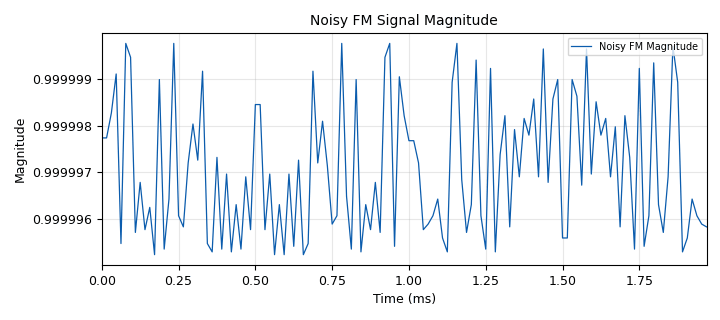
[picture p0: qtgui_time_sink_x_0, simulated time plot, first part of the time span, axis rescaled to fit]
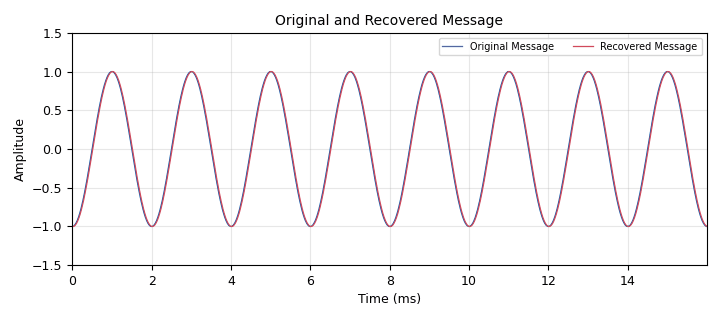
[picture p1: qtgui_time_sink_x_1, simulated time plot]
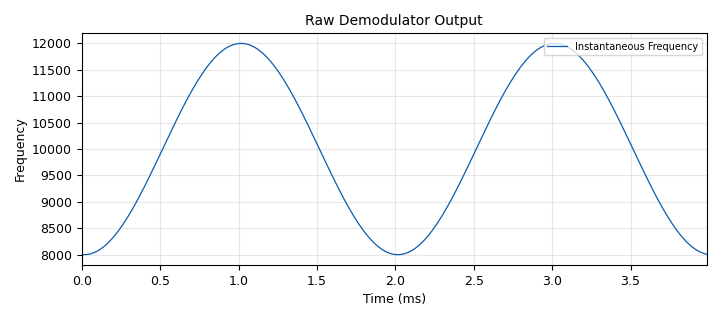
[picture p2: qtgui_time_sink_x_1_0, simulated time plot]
options:
  parameters:
    author: Dhrubjun
    generate_options: qt_gui
    id: exp6
    output_language: python
    title: FM Through an Additive Noisy Channel
  states: {}

blocks:
- name: amp_scale
  id: variable_qtgui_range
  parameters:
    label: FM Amplitude Scale
    start: '0.1'
    step: '0.1'
    stop: '2'
    value: '1'
  states: {}
- name: fc
  id: variable
  parameters:
    value: '10000'
  states: {}
- name: fm
  id: variable_qtgui_range
  parameters:
    label: |
      Message Frequency (Hz)
    start: '250'
    step: '250'
    stop: '2000'
    value: '500'
  states: {}
- name: freq_dev
  id: variable_qtgui_range
  parameters:
    label: Frequency Deviation (Hz)
    start: '0'
    step: '50'
    stop: '5000'
    value: '2000'
  states: {}
- name: noise_amp
  id: variable_qtgui_range
  parameters:
    label: Channel Noise Amplitude
    start: '0'
    step: '0.05'
    stop: '1'
    value: '0'
  states: {}
- name: samp_rate
  id: variable
  parameters:
    value: '64000'
  states: {}
- name: analog_noise_source_x_0
  id: analog_noise_source_x
  parameters:
    amp: noise_amp
    noise_type: analog.GR_GAUSSIAN
    seed: '0'
    type: complex
  states: {}
- name: analog_quadrature_demod_cf_0
  id: analog_quadrature_demod_cf
  parameters:
    gain: samp_rate/(2*pi)
  states: {}
- name: analog_sig_source_x_0
  id: analog_sig_source_x
  parameters:
    amp: '1'
    freq: fm
    offset: '0'
    phase: '0'
    samp_rate: samp_rate
    type: float
    waveform: analog.GR_COS_WAVE
  states: {}
- name: blocks_add_const_vxx_0
  id: blocks_add_const_vxx
  parameters:
    const: fc
    type: float
  states: {}
- name: blocks_add_const_vxx_0_0
  id: blocks_add_const_vxx
  parameters:
    const: '-fc'
    type: float
  states: {}
- name: blocks_add_xx_0
  id: blocks_add_xx
  parameters:
    type: complex
  states: {}
- name: blocks_complex_to_mag_0
  id: blocks_complex_to_mag
  parameters: {}
  states: {}
- name: blocks_multiply_const_vxx_0
  id: blocks_multiply_const_vxx
  parameters:
    const: freq_dev
    type: float
  states: {}
- name: blocks_multiply_const_vxx_0_0
  id: blocks_multiply_const_vxx
  parameters:
    const: 1/freq_dev
    type: float
  states: {}
- name: blocks_multiply_const_vxx_1
  id: blocks_multiply_const_vxx
  parameters:
    const: amp_scale
    type: complex
  states: {}
- name: blocks_throttle2_0
  id: blocks_throttle2
  parameters:
    samples_per_second: samp_rate
    type: complex
  states: {}
- name: blocks_vco_c_0
  id: blocks_vco_c
  parameters:
    amplitude: '1'
    samp_rate: samp_rate
    sensitivity: 2*pi
  states: {}
- name: import_0
  id: import
  parameters:
    imports: from math import pi
  states: {}
- name: qtgui_time_sink_x_0
  id: qtgui_time_sink_x
  parameters:
    gui_hint: (1,0,1,2)
    label1: Noisy FM Magnitude
    name: Noisy FM Signal Magnitude
    size: '1024'
    srate: samp_rate
    type: float
    ylabel: Magnitude
    ymax: '2.5'
    ymin: '0'
    yunit: ''
  states: {}
- name: qtgui_time_sink_x_1
  id: qtgui_time_sink_x
  parameters:
    gui_hint: (0,0,1,1)
    label1: Original Message
    label2: Recovered Message
    name: Original and Recovered Message
    nconnections: '2'
    size: '1024'
    srate: samp_rate
    type: float
    ymax: '1.5'
    ymin: '-1.5'
  states: {}
- name: qtgui_time_sink_x_1_0
  id: qtgui_time_sink_x
  parameters:
    autoscale: 'True'
    gui_hint: (0,1,1,1)
    label1: Instantaneous Frequency
    name: Raw Demodulator Output
    size: '256'
    srate: samp_rate
    type: float
    ylabel: Frequency
    ymax: '1.5'
    ymin: '-1.5'
    yunit: Hz
  states: {}

connections:
- [analog_noise_source_x_0, '0', blocks_add_xx_0, '1']
- [analog_quadrature_demod_cf_0, '0', blocks_add_const_vxx_0_0, '0']
- [analog_quadrature_demod_cf_0, '0', qtgui_time_sink_x_1_0, '0']
- [analog_sig_source_x_0, '0', blocks_multiply_const_vxx_0, '0']
- [analog_sig_source_x_0, '0', qtgui_time_sink_x_1, '0']
- [blocks_add_const_vxx_0, '0', blocks_vco_c_0, '0']
- [blocks_add_const_vxx_0_0, '0', blocks_multiply_const_vxx_0_0, '0']
- [blocks_add_xx_0, '0', analog_quadrature_demod_cf_0, '0']
- [blocks_add_xx_0, '0', blocks_complex_to_mag_0, '0']
- [blocks_complex_to_mag_0, '0', qtgui_time_sink_x_0, '0']
- [blocks_multiply_const_vxx_0, '0', blocks_add_const_vxx_0, '0']
- [blocks_multiply_const_vxx_0_0, '0', qtgui_time_sink_x_1, '1']
- [blocks_multiply_const_vxx_1, '0', blocks_throttle2_0, '0']
- [blocks_throttle2_0, '0', blocks_add_xx_0, '0']
- [blocks_vco_c_0, '0', blocks_multiply_const_vxx_1, '0']

metadata:
  file_format: 1
  grc_version: 3.10.12.0
